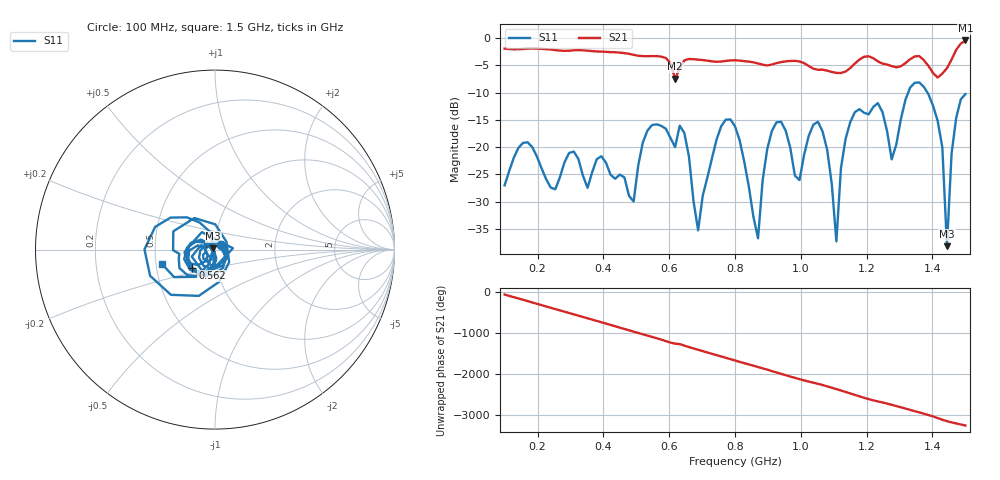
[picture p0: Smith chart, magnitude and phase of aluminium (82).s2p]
! NanoVNA-App
! Date: 2025-09-25 14:55:55
! Start: 100MHz Stop: 1,5GHz Points: 101
! S-Parameter data: F S11 S21 S12 S22
# Hz S RI R 50
!  Frequency  S11_Real  S11_Imag  S21_Real  S21_Imag  S12_Real  S12_Imag  S22_Real  S22_Imag
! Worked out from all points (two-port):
!   101 points, 100 MHz to 1.5 GHz, reference 50 ohm
!   highest |S21| = -0.41 dB at 1.5 GHz (marker M1); lowest = -7.4 dB at 618 MHz (marker M2)
!   |S21| within 3 dB of the highest: start of sweep to 577.3 MHz; 1.462 GHz to end of sweep (the widest 2 of 4)
!   lowest |S11| = -38.2 dB at 1.444 GHz (marker M3), VSWR 1.03, Z = 49.1 + j0.777 ohm
!   |S11| at or under -10 dB: start of sweep to 1.326 GHz; 1.385 GHz to end of sweep
!   S12 and S22 are empty: the file has one direction only
!   S11 on the Smith chart (normalised r, x): 100 MHz: 1.07, +0.06; 562 MHz: 0.76, -0.16; 1.5 GHz: 0.54, -0.09
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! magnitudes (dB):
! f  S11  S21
! 100 MHz  -27.0  -1.9
! 338 MHz  -25.2  -2.2
! 492 MHz  -30.0  -3.1
! 562 MHz  -15.8  -3.3
! 576 MHz  -16.1  -3.4
! 618 MHz  -20.0  -7.4
! 646 MHz  -17.4  -4.1
! 688 MHz  -35.3  -3.9
! 800 MHz  -16.2  -4.0
! 870 MHz  -36.7  -4.6
! 912 MHz  -17.0  -4.8
! 996 MHz  -26.0  -4.3
! 1.038 GHz  -15.9  -5.6
! 1.08 GHz  -20.5  -6.0
! 1.108 GHz  -37.3  -6.4
! 1.164 GHz  -13.6  -4.7
! 1.276 GHz  -22.2  -5.1
! 1.374 GHz  -9.0  -4.0
! 1.43 GHz  -20.1  -6.5
! 1.444 GHz  -38.2  -5.5
! 1.458 GHz  -21.2  -3.9
! 1.5 GHz  -10.3  -0.4
